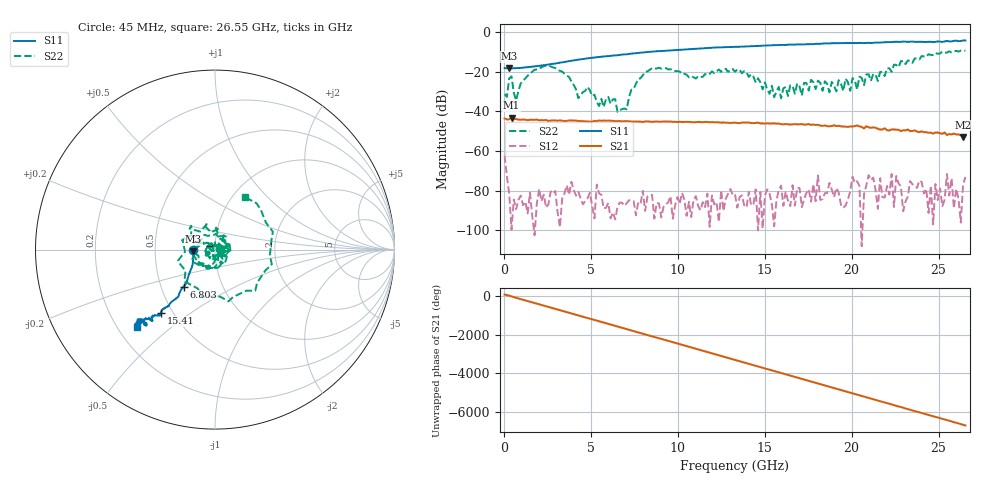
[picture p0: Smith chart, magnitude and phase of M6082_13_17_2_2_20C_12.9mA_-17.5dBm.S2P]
!  2-Port S-parameters saved by WinCal
! VAR MeasName=S-Parameters (CALIBRATED_DATA) read from VNA (C)
! VAR MeasDate=10/16/2015 1:59:22 PM
! VAR NAME=M6082_13_17_2_2_20C_12.9mA_-17.5dBm
! VAR FILENAME=M6082_13_17_2_2_20C_12.9mA_-17.5dBm.S2P
! VAR DATE=10/16/2015 1:59:22 PM
! VAR PHYS_PORTS=2,1
! VAR ObjTypeName=DATASET
! VAR IndexType=Frequency
# Hz S DB R 50
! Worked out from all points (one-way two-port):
!   201 points, 45 MHz to 26.55 GHz, reference 50 ohm
!   highest |S21| = -43.15 dB at 442.5 MHz (marker M1); lowest = -52.9 dB at 26.41 GHz (marker M2)
!   lowest |S11| = -18.3 dB at 310 MHz (marker M3), VSWR 1.28, Z = 39.2 - j0.683 ohm
!   |S11| at or under -10 dB: start of sweep to 8.385 GHz
!   |S22| runs from -40.2 to -9.2 dB; largest |S21 - S12| = 0.0074
!   S11 on the Smith chart (normalised r, x): 45 MHz: 0.78, +0.00; 6.803 GHz: 0.65, -0.29; 15.41 GHz: 0.43, -0.39; 26.55 GHz: 0.28, -0.38
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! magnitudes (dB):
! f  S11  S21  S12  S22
! 45 MHz  -18.2  -43.6  -62.3  -31.3
! 310 MHz  -18.3  -44.0  -81.5  -23.3
! 442.5 MHz  -18.3  -43.2  -99.6  -22.4
! 707.5 MHz  -18.2  -43.9  -89.3  -34.5
! 2.43 GHz  -16.6  -44.3  -88.5  -16.9
! 4.55 GHz  -13.6  -44.9  -86.9  -30.3
! 6.803 GHz  -11.4  -45.1  -86.1  -38.8
! 8.922 GHz  -9.7  -45.2  -86.4  -18.0
! 13.29 GHz  -7.5  -45.7  -81.7  -20.0
! 15.41 GHz  -6.7  -46.1  -86.8  -27.1
! 15.95 GHz  -6.5  -46.5  -77.4  -33.4
! 17.8 GHz  -6.1  -46.6  -76.6  -25.2
! 19.92 GHz  -5.5  -47.6  -80.3  -29.7
! 20.98 GHz  -5.5  -48.1  -72.2  -21.3
! 22.17 GHz  -5.1  -49.6  -82.0  -18.3
! 22.3 GHz  -5.1  -49.1  -71.6  -20.1
! 22.44 GHz  -5.0  -49.1  -88.2  -16.5
! 22.57 GHz  -4.9  -49.2  -72.6  -16.6
! 22.97 GHz  -4.8  -49.5  -90.3  -14.6
! 25.48 GHz  -4.5  -51.9  -71.6  -10.4
! 26.41 GHz  -4.3  -52.9  -77.0  -9.2
! 26.55 GHz  -4.3  -52.1  -73.0  -9.5
